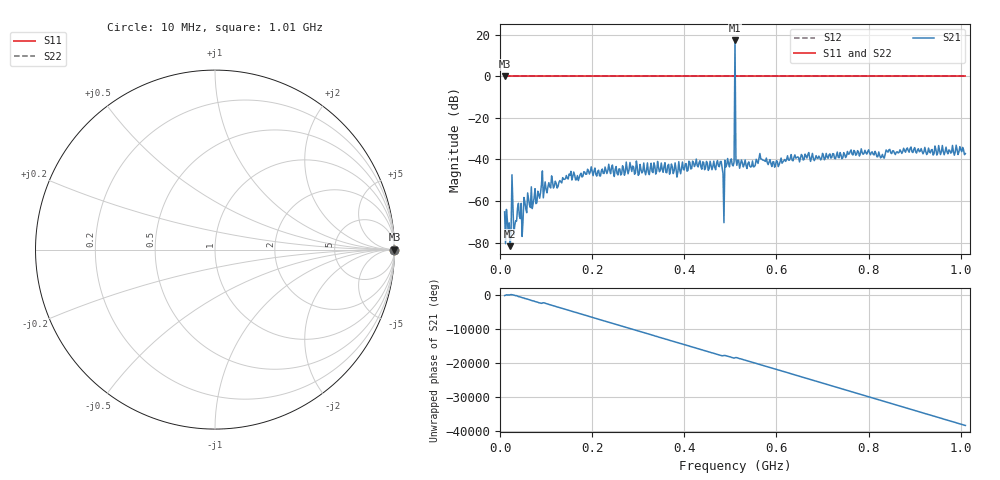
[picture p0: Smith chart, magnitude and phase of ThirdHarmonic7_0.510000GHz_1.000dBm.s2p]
! 8/17/2025 2:47:14 PM
! C:\ANRITSUVNA\TEMP\TEMP.S2P
! CHANNEL.1
! TR.MEASUREMENT
! RAW.DATA
! RF.CORRECTION.OFF
! AVERAGING.OFF
! IF.BANDWIDTH: 5KHZ
! SWEEPTYPE:  FREQ.SWEEP(Linear)
! Reference Plane Port Info
! PORT:  PORT1  PORT2
! DISTANCE:  0  m  0  m
! TIME:  0  s  0  s
! PHASE.OFFSET:  0  deg.  0  deg.
! LOSS:  0  dB  0  dB
! REF.LOSS:  0  dB  0  dB
! REF.FREQ:  0  Hz  0  Hz
! Power Info
! POWER:  -20  dBm  -20  dBm
! EFF.POWER:  -20  dBm  -20  dBm
! SOURCE.ATTEN:  0  dB  0  dB
! TEST.ATTEN:  0  dB  0  dB
# GHZ S RI R 50.0
! FREQ.GHZ  S11RE  S11IM  S21RE  S21IM  S12RE  S12IM  S22RE  S22IM
!; PortSelection: Port_12
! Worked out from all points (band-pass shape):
!   501 points, 10 MHz to 1.01 GHz, reference 50 ohm
!   highest |S21| = 17.15 dB at 510 MHz (marker M1); lowest = -81.6 dB at 22 MHz (marker M2)
!   |S21| within 3 dB of the highest: 509.8973 MHz to 510.1051 MHz (207.8 kHz wide, 0.0407 % of centre)
!   lowest |S11| = 0.0 dB at 10 MHz (marker M3)
!   |S11| at or under -10 dB: nowhere
!   |S22| runs from 0.0 to 0.0 dB; largest |S21 - S12| = 6.2
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0.01  1 0  0.000293 -0.000466  1 0  1 0
0.02  1 0  3.1e-06 0.0003  1 0  1 0
0.022  1 0  -8.27e-05 0  1 0  1 0
0.03  1 0  9.03e-05 0.000125  1 0  1 0
0.034  1 0  -7.9e-05 -0.000327  1 0  1 0
0.042  1 0  0.000334 -0.000274  1 0  1 0
0.046  1 0  -0.000851 0.000228  1 0  1 0
0.056  1 0  -0.000258 0.000593  1 0  1 0
0.094  1 0  0.00118 -0.000198  1 0  1 0
0.178  1 0  -0.0036 -0.00117  1 0  1 0
0.344  1 0  0.00588 -0.00271  1 0  1 0
0.476  1 0  -0.00314 0.0059  1 0  1 0
0.486  1 0  8.12e-05 -0.000293  1 0  1 0
0.492  1 0  -0.00694 -0.00263  1 0  1 0
0.504  1 0  0.00367 0.00648  1 0  1 0
0.506  1 0  0.00696 -0.000704  1 0  1 0
0.51  1 0  6.954 1.862  1 0  1 0
0.514  1 0  0.00642 0.00329  1 0  1 0
0.516  1 0  0.00677 -0.00687  1 0  1 0
0.678  1 0  0.00375 -0.0134  1 0  1 0
0.844  1 0  -0.00342 0.0167  1 0  1 0
1.01  1 0  -0.000168 -0.0138  1 0  1 0
